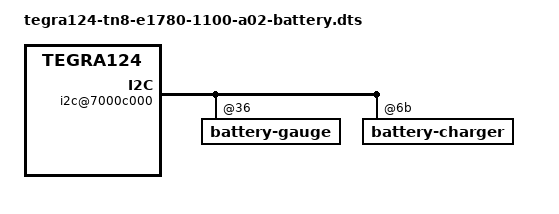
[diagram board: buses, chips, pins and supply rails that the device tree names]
#include "tegra124-tn8-e1780-1100-a02.dts"

/ {
	nvidia,dtsfilename = __FILE__;

	i2c@7000c000 {
		battery-gauge@36 {
			status = "okay";
		};

		battery-charger@6b {
			charger {
				status = "okay";
			};
		};
	};

	sysedp_batmon_calc {
		status = "okay";
	};
};

